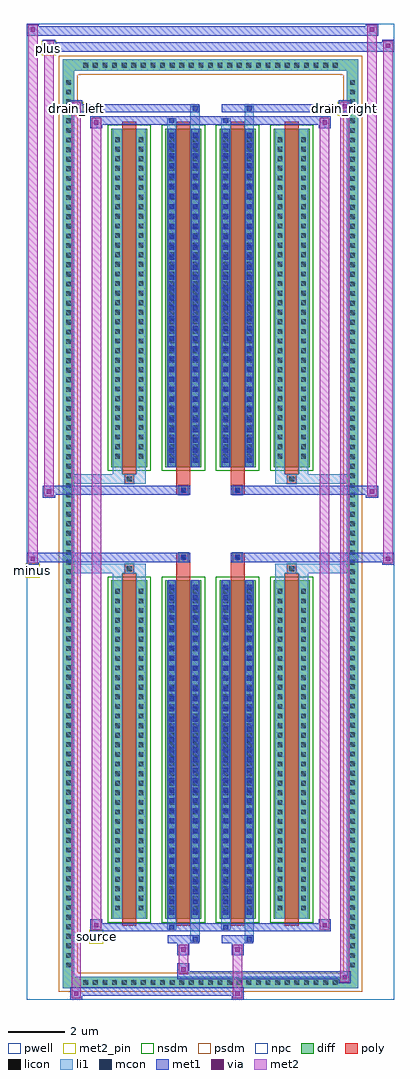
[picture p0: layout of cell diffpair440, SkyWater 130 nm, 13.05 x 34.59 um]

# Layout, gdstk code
import gdstk
lib = gdstk.Library(unit=1e-6, precision=5e-09)
def R(c, l, rs):  # rectangles x0, y0, x1, y1
    for r in rs: c.add(gdstk.rectangle(r[:2], r[2:], *l))
def A(c, l, x, y, w, h, nx, ny, dx, dy):  # array of equal rectangles
    R(c, l, [(x+i*dx, y+j*dy, x+i*dx+w, y+j*dy+h) for i in range(nx) for j in range(ny)])
def P(c, l, *ps):  # polygons
    for p in ps: c.add(gdstk.Polygon(p, *l))
pwell = (64, 44)
diff = (65, 20)
poly = (66, 20)
licon = (66, 44)
li1 = (67, 20)
mcon = (67, 44)
met1 = (68, 20)
via = (68, 44)
met2_pin = (69, 16)
met2 = (69, 20)
nsdm = (93, 44)
psdm = (94, 20)
npc = (95, 20)

diffpair440 = lib.new_cell('diffpair440')
R(diffpair440, pwell, [(-6.51,-16.86,6.51,17.73), (-3.83,-15.05,-0.01,-0.825), (0.01,-15.05,3.83,-0.825), (-3.83,0.825,-0.01,15.05), (0.01,0.825,3.83,15.05)])
A(diffpair440, diff, -4.625, -16.46, 0.41, 0.41, 27, 2, 0.34, 32.51)
A(diffpair440, diff, -5.24, -15.845, 0.41, 0.41, 1, 93, 0, 0.34)
A(diffpair440, diff, 4.83, -15.845, 0.41, 0.41, 1, 93, 0, 0.34)
A(diffpair440, diff, -3.52, -14.005, 1.28, 12, 4, 2, 1.92, 16.01)
R(diffpair440, diff, [(-4.625,-16.46,4.625,-16.05), (-5.24,-15.845,-4.83,15.845), (4.83,-15.845,5.24,15.845), (-4.625,16.05,4.625,16.46)])
P(diffpair440, diff, [(5.24,16.46),(-5.24,16.46),(-5.24,-16.05),(-4.83,-16.05),(-4.83,16.05),(4.83,16.05),(4.83,-16.05),(-4.83,-16.05),(-5.24,-16.05),(-5.24,-16.46),(5.24,-16.46)])
A(diffpair440, poly, -3.13, -14.255, 0.5, 12.5, 4, 2, 1.92, 16.01)
R(diffpair440, poly, [(-3.045,-1.755,-2.715,-1.425), (-3.045,-1.755,-2.715,-1.425), (-1.21,-1.755,-0.71,-1.355), (0.71,-1.755,1.21,-1.355), (2.715,-1.755,3.045,-1.425), (2.715,-1.755,3.045,-1.425), (-1.21,-1.355,-0.71,-1.025), (-1.125,-1.355,-0.795,-1.025), (0.71,-1.355,1.21,-1.025), (0.795,-1.355,1.125,-1.025), (-1.21,1.025,-0.71,1.355), (-1.125,1.025,-0.795,1.355), (0.71,1.025,1.21,1.355), (0.795,1.025,1.125,1.355), (-1.21,1.355,-0.71,1.755), (0.71,1.355,1.21,1.755), (-3.045,1.425,-2.715,1.755), (-3.045,1.425,-2.715,1.755), (2.715,1.425,3.045,1.755), (2.715,1.425,3.045,1.755)])
A(diffpair440, licon, -4.505, -16.34, 0.17, 0.17, 27, 2, 0.34, 32.51)
A(diffpair440, licon, -5.12, -15.725, 0.17, 0.17, 1, 93, 0, 0.34)
A(diffpair440, licon, 4.95, -15.725, 0.17, 0.17, 1, 93, 0, 0.34)
A(diffpair440, licon, -3.38, -13.7, 0.17, 0.17, 1, 34, 0, 0.34)
A(diffpair440, licon, -2.55, -13.7, 0.17, 0.17, 1, 34, 0, 0.34)
A(diffpair440, licon, -1.46, -13.7, 0.17, 0.17, 1, 34, 0, 0.34)
A(diffpair440, licon, -0.63, -13.7, 0.17, 0.17, 1, 34, 0, 0.34)
A(diffpair440, licon, 0.46, -13.7, 0.17, 0.17, 1, 34, 0, 0.34)
A(diffpair440, licon, 1.29, -13.7, 0.17, 0.17, 1, 34, 0, 0.34)
A(diffpair440, licon, 2.38, -13.7, 0.17, 0.17, 1, 34, 0, 0.34)
A(diffpair440, licon, 3.21, -13.7, 0.17, 0.17, 1, 34, 0, 0.34)
A(diffpair440, licon, -3.38, 2.31, 0.17, 0.17, 1, 34, 0, 0.34)
A(diffpair440, licon, -2.55, 2.31, 0.17, 0.17, 1, 34, 0, 0.34)
A(diffpair440, licon, -1.46, 2.31, 0.17, 0.17, 1, 34, 0, 0.34)
A(diffpair440, licon, -0.63, 2.31, 0.17, 0.17, 1, 34, 0, 0.34)
A(diffpair440, licon, 0.46, 2.31, 0.17, 0.17, 1, 34, 0, 0.34)
A(diffpair440, licon, 1.29, 2.31, 0.17, 0.17, 1, 34, 0, 0.34)
A(diffpair440, licon, 2.38, 2.31, 0.17, 0.17, 1, 34, 0, 0.34)
A(diffpair440, licon, 3.21, 2.31, 0.17, 0.17, 1, 34, 0, 0.34)
R(diffpair440, licon, [(-2.965,-1.675,-2.795,-1.505), (2.795,-1.675,2.965,-1.505), (-1.045,-1.275,-0.875,-1.105), (0.875,-1.275,1.045,-1.105), (-1.045,1.105,-0.875,1.275), (0.875,1.105,1.045,1.275), (-2.965,1.505,-2.795,1.675), (2.795,1.505,2.965,1.675)])
A(diffpair440, li1, -4.585, -16.42, 0.33, 0.33, 27, 2, 0.34, 32.51)
A(diffpair440, li1, -5.2, -15.805, 0.33, 0.33, 1, 93, 0, 0.34)
A(diffpair440, li1, 4.87, -15.805, 0.33, 0.33, 1, 93, 0, 0.34)
A(diffpair440, li1, -1.46, -13.85, 0.17, 0.17, 1, 33, 0, 0.36)
A(diffpair440, li1, -0.63, -13.85, 0.17, 0.17, 1, 33, 0, 0.36)
A(diffpair440, li1, 0.46, -13.85, 0.17, 0.17, 1, 33, 0, 0.36)
A(diffpair440, li1, 1.29, -13.85, 0.17, 0.17, 1, 33, 0, 0.36)
A(diffpair440, li1, -3.46, -13.78, 0.33, 0.33, 1, 34, 0, 0.34)
A(diffpair440, li1, -2.63, -13.78, 0.33, 0.33, 1, 34, 0, 0.34)
A(diffpair440, li1, -1.54, -13.78, 0.33, 0.33, 1, 34, 0, 0.34)
A(diffpair440, li1, -0.71, -13.78, 0.33, 0.33, 1, 34, 0, 0.34)
A(diffpair440, li1, 0.38, -13.78, 0.33, 0.33, 1, 34, 0, 0.34)
A(diffpair440, li1, 1.21, -13.78, 0.33, 0.33, 1, 34, 0, 0.34)
A(diffpair440, li1, 2.3, -13.78, 0.33, 0.33, 1, 34, 0, 0.34)
A(diffpair440, li1, 3.13, -13.78, 0.33, 0.33, 1, 34, 0, 0.34)
A(diffpair440, li1, -1.46, 2.16, 0.17, 0.17, 1, 33, 0, 0.36)
A(diffpair440, li1, -0.63, 2.16, 0.17, 0.17, 1, 33, 0, 0.36)
A(diffpair440, li1, 0.46, 2.16, 0.17, 0.17, 1, 33, 0, 0.36)
A(diffpair440, li1, 1.29, 2.16, 0.17, 0.17, 1, 33, 0, 0.36)
A(diffpair440, li1, -3.46, 2.23, 0.33, 0.33, 1, 34, 0, 0.34)
A(diffpair440, li1, -2.63, 2.23, 0.33, 0.33, 1, 34, 0, 0.34)
A(diffpair440, li1, -1.54, 2.23, 0.33, 0.33, 1, 34, 0, 0.34)
A(diffpair440, li1, -0.71, 2.23, 0.33, 0.33, 1, 34, 0, 0.34)
A(diffpair440, li1, 0.38, 2.23, 0.33, 0.33, 1, 34, 0, 0.34)
A(diffpair440, li1, 1.21, 2.23, 0.33, 0.33, 1, 34, 0, 0.34)
A(diffpair440, li1, 2.3, 2.23, 0.33, 0.33, 1, 34, 0, 0.34)
A(diffpair440, li1, 3.13, 2.23, 0.33, 0.33, 1, 34, 0, 0.34)
R(diffpair440, li1, [(-5.24,-16.46,-4.83,-16.05), (-5.24,-16.46,-4.83,-16.05), (-4.83,-16.46,4.83,-16.05), (4.83,-16.46,5.24,-16.05), (4.83,-16.46,5.24,-16.05), (-5.24,-16.05,-4.83,16.05), (4.83,-16.05,5.24,16.05), (-0.71,-14.81,-0.38,-14.005), (-0.63,-14.81,-0.46,-14.64), (1.21,-14.81,1.54,-14.005), (1.29,-14.81,1.46,-14.64), (-1.54,-14.38,-1.21,-14.005), (-1.46,-14.38,-1.29,-14.21), (0.38,-14.38,0.71,-14.005), (0.46,-14.38,0.63,-14.21), (-3.46,-14.005,-3.13,-2.005), (-2.63,-14.005,-2.3,-2.005), (-1.54,-14.005,-1.21,-2.005), (-0.71,-14.005,-0.38,-2.005), (0.38,-14.005,0.71,-2.005), (1.21,-14.005,1.54,-2.005), (2.3,-14.005,2.63,-2.005), (3.13,-14.005,3.46,-2.005), (-1.46,-13.85,-1.29,-2.16), (-0.63,-13.85,-0.46,-2.16), (0.46,-13.85,0.63,-2.16), (1.29,-13.85,1.46,-2.16), (-3.46,-2.005,-3.13,-1.425), (-2.63,-2.005,-2.3,-1.425), (2.3,-2.005,2.63,-1.425), (3.13,-2.005,3.46,-1.425), (-5.24,-1.755,-3.045,-1.425), (-3.46,-1.755,-3.045,-1.425), (-3.045,-1.755,-2.715,-1.425), (-2.715,-1.755,-2.3,-1.425), (2.3,-1.755,2.715,-1.425), (2.715,-1.755,3.045,-1.425), (2.715,-1.755,5.24,-1.425), (3.045,-1.755,3.46,-1.425), (-1.125,-1.355,-0.795,-1.025), (0.795,-1.355,1.125,-1.025), (-1.125,1.025,-0.795,1.355), (0.795,1.025,1.125,1.355), (-5.24,1.425,-3.045,1.755), (-3.46,1.425,-3.045,1.755), (-3.46,1.425,-3.13,2.005), (-3.045,1.425,-2.715,1.755), (-2.715,1.425,-2.3,1.755), (-2.63,1.425,-2.3,2.005), (2.3,1.425,2.715,1.755), (2.3,1.425,2.63,2.005), (2.715,1.425,3.045,1.755), (2.715,1.425,5.24,1.755), (3.045,1.425,3.46,1.755), (3.13,1.425,3.46,2.005), (-3.46,2.005,-3.13,14.005), (-2.63,2.005,-2.3,14.005), (-1.54,2.005,-1.21,14.005), (-0.71,2.005,-0.38,14.005), (0.38,2.005,0.71,14.005), (1.21,2.005,1.54,14.005), (2.3,2.005,2.63,14.005), (3.13,2.005,3.46,14.005), (-1.46,2.16,-1.29,13.85), (-0.63,2.16,-0.46,13.85), (0.46,2.16,0.63,13.85), (1.29,2.16,1.46,13.85), (-1.54,14.005,-1.21,14.38), (-0.71,14.005,-0.38,14.81), (0.38,14.005,0.71,14.38), (1.21,14.005,1.54,14.81), (-1.46,14.21,-1.29,14.38), (0.46,14.21,0.63,14.38), (-0.63,14.64,-0.46,14.81), (1.29,14.64,1.46,14.81), (-5.24,16.05,-4.83,16.46), (-5.24,16.05,-4.83,16.46), (-4.83,16.05,4.83,16.46), (4.83,16.05,5.24,16.46), (4.83,16.05,5.24,16.46)])
A(diffpair440, mcon, -1.46, -13.85, 0.17, 0.17, 1, 33, 0, 0.36)
A(diffpair440, mcon, -0.63, -13.85, 0.17, 0.17, 1, 33, 0, 0.36)
A(diffpair440, mcon, 0.46, -13.85, 0.17, 0.17, 1, 33, 0, 0.36)
A(diffpair440, mcon, 1.29, -13.85, 0.17, 0.17, 1, 33, 0, 0.36)
A(diffpair440, mcon, -1.46, 2.16, 0.17, 0.17, 1, 33, 0, 0.36)
A(diffpair440, mcon, -0.63, 2.16, 0.17, 0.17, 1, 33, 0, 0.36)
A(diffpair440, mcon, 0.46, 2.16, 0.17, 0.17, 1, 33, 0, 0.36)
A(diffpair440, mcon, 1.29, 2.16, 0.17, 0.17, 1, 33, 0, 0.36)
R(diffpair440, mcon, [(-0.63,-14.81,-0.46,-14.64), (1.29,-14.81,1.46,-14.64), (-1.46,-14.38,-1.29,-14.21), (0.46,-14.38,0.63,-14.21), (-1.045,-1.275,-0.875,-1.105), (0.875,-1.275,1.045,-1.105), (-1.045,1.105,-0.875,1.275), (0.875,1.105,1.045,1.275), (-1.46,14.21,-1.29,14.38), (0.46,14.21,0.63,14.38), (-0.63,14.64,-0.46,14.81), (1.29,14.64,1.46,14.81)])
A(diffpair440, met1, -1.52, -13.91, 0.29, 0.29, 1, 33, 0, 0.36)
A(diffpair440, met1, -0.69, -13.91, 0.29, 0.29, 1, 33, 0, 0.36)
A(diffpair440, met1, 0.4, -13.91, 0.29, 0.29, 1, 33, 0, 0.36)
A(diffpair440, met1, 1.23, -13.91, 0.29, 0.29, 1, 33, 0, 0.36)
A(diffpair440, met1, -1.52, 2.1, 0.29, 0.29, 1, 33, 0, 0.36)
A(diffpair440, met1, -0.69, 2.1, 0.29, 0.29, 1, 33, 0, 0.36)
A(diffpair440, met1, 0.4, 2.1, 0.29, 0.29, 1, 33, 0, 0.36)
A(diffpair440, met1, 1.23, 2.1, 0.29, 0.29, 1, 33, 0, 0.36)
R(diffpair440, met1, [(-4.97,-16.86,-4.54,-16.43), (0.745,-16.86,1.175,-16.43), (-4.97,-16.72,1.175,-16.43), (4.54,-16.29,4.97,-15.86), (-1.175,-16.15,4.97,-15.86), (-1.175,-16.01,-0.745,-15.58), (-1.175,-15.3,-0.745,-14.87), (0.745,-15.3,1.175,-14.87), (-1.52,-14.87,-0.4,-14.58), (-0.69,-14.87,-0.4,-14.58), (0.4,-14.87,1.52,-14.58), (1.23,-14.87,1.52,-14.58), (-4.26,-14.44,-3.83,-14.01), (-4.26,-14.44,-1.52,-14.15), (-1.52,-14.44,-1.23,-14.15), (-1.52,-14.44,-0.4,-14.15), (-0.4,-14.44,0.4,-14.15), (0.4,-14.44,0.69,-14.15), (0.4,-14.44,1.52,-14.15), (1.52,-14.44,4.26,-14.15), (3.83,-14.44,4.26,-14.01), (-1.52,-14.005,-1.23,-2.005), (-0.69,-14.005,-0.4,-2.005), (0.4,-14.005,0.69,-2.005), (1.23,-14.005,1.52,-2.005), (-6.51,-1.455,-6.08,-1.025), (6.08,-1.455,6.51,-1.025), (-6.51,-1.355,-0.71,-1.025), (-1.21,-1.355,-0.71,-1.025), (0.71,-1.355,1.21,-1.025), (0.71,-1.355,6.51,-1.025), (-1.105,-1.335,-0.815,-1.045), (0.815,-1.335,1.105,-1.045), (-5.94,0.925,-5.51,1.355), (5.51,0.925,5.94,1.355), (-5.94,1.025,-1.21,1.355), (-1.21,1.025,-0.71,1.355), (0.71,1.025,1.21,1.355), (1.21,1.025,5.94,1.355), (-1.105,1.045,-0.815,1.335), (0.815,1.045,1.105,1.335), (-1.52,2.005,-1.23,14.005), (-0.69,2.005,-0.4,14.005), (0.4,2.005,0.69,14.005), (1.23,2.005,1.52,14.005), (-4.26,14.01,-3.83,14.44), (3.83,14.01,4.26,14.44), (-4.26,14.15,-1.52,14.44), (-1.52,14.15,-1.23,14.44), (-1.52,14.15,-0.4,14.44), (-0.4,14.15,0.4,14.44), (0.4,14.15,0.69,14.44), (0.4,14.15,1.52,14.44), (1.52,14.15,4.26,14.44), (-4.97,14.58,-4.54,15.01), (-4.97,14.58,-1.52,14.87), (-1.52,14.58,-0.4,14.87), (-0.69,14.58,-0.4,14.87), (0.4,14.58,1.52,14.87), (1.23,14.58,1.52,14.87), (1.52,14.58,4.97,14.87), (4.54,14.58,4.97,15.01), (-5.94,16.73,-5.51,17.16), (-5.94,16.73,-3.83,17.06), (-3.83,16.73,3.83,17.06), (3.83,16.73,6.51,17.06), (6.08,16.73,6.51,17.16), (-6.51,17.3,-6.08,17.73), (-6.51,17.3,-3.83,17.63), (-3.83,17.3,3.83,17.63), (3.83,17.3,5.94,17.63), (5.51,17.3,5.94,17.73)])
R(diffpair440, via, [(-4.83,-16.72,-4.68,-16.57), (0.885,-16.72,1.035,-16.57), (4.68,-16.15,4.83,-16), (-1.035,-15.87,-0.885,-15.72), (-1.035,-15.16,-0.885,-15.01), (0.885,-15.16,1.035,-15.01), (-4.12,-14.3,-3.97,-14.15), (3.97,-14.3,4.12,-14.15), (-6.37,-1.315,-6.22,-1.165), (6.22,-1.315,6.37,-1.165), (-5.8,1.065,-5.65,1.215), (5.65,1.065,5.8,1.215), (-4.12,14.15,-3.97,14.3), (3.97,14.15,4.12,14.3), (-4.83,14.72,-4.68,14.87), (4.68,14.72,4.83,14.87), (-5.8,16.87,-5.65,17.02), (6.22,16.87,6.37,17.02), (-6.37,17.44,-6.22,17.59), (5.65,17.44,5.8,17.59)])
R(diffpair440, met2_pin, [(-4.295,-14.89,-3.795,-14.39), (-6.545,-1.905,-6.045,-1.405), (-5.005,14.46,-4.505,14.96), (4.505,14.46,5.005,14.96), (-5.975,16.61,-5.475,17.11)])
R(diffpair440, met2, [(-4.92,-16.81,-4.59,-16.48), (-4.92,-16.81,-4.59,14.96), (0.795,-16.81,1.125,-16.48), (0.795,-16.48,1.125,-15.25), (4.59,-16.24,4.92,-15.91), (4.59,-16.24,4.92,14.96), (-1.125,-15.96,-0.795,-15.63), (-1.125,-15.63,-0.795,-15.25), (-1.125,-15.25,-0.795,-14.92), (0.795,-15.25,1.125,-14.92), (-4.21,-14.39,-3.88,-14.06), (-4.21,-14.39,-3.88,14.39), (3.88,-14.39,4.21,-14.06), (3.88,-14.39,4.21,14.39), (-6.46,-1.405,-6.13,-1.075), (-6.46,-1.405,-6.13,17.68), (6.13,-1.405,6.46,-1.075), (6.13,-1.405,6.46,17.11), (-5.89,0.975,-5.56,1.305), (-5.89,0.975,-5.56,17.11), (5.56,0.975,5.89,1.305), (5.56,0.975,5.89,17.68), (-4.21,14.06,-3.88,14.39), (3.88,14.06,4.21,14.39), (-4.92,14.63,-4.59,14.96), (4.59,14.63,4.92,14.96), (-5.89,16.78,-5.56,17.11), (6.13,16.78,6.46,17.11), (-6.46,17.35,-6.13,17.68), (5.56,17.35,5.89,17.68)])
P(diffpair440, met2, [(6.46,-1.405),(6.46,-1.405),(6.46,-1.075),(6.46,-1.075)],
  [(6.46,16.78),(6.46,16.78),(6.46,17.11),(6.46,17.11)],
  [(-6.13,-1.405),(-6.13,-1.405),(-6.13,-1.075),(-6.13,-1.075)],
  [(-6.13,17.35),(-6.13,17.35),(-6.13,17.68),(-6.13,17.68)],
  [(5.89,0.975),(5.89,0.975),(5.89,1.305),(5.89,1.305)],
  [(5.89,17.35),(5.89,17.35),(5.89,17.68),(5.89,17.68)],
  [(-5.56,0.975),(-5.56,0.975),(-5.56,1.305),(-5.56,1.305)],
  [(-5.56,16.78),(-5.56,16.78),(-5.56,17.11),(-5.56,17.11)],
  [(-4.59,-16.81),(-4.59,-16.81),(-4.59,-16.48),(-4.59,-16.48)],
  [(-4.59,14.63),(-4.59,14.63),(-4.59,14.96),(-4.59,14.96)],
  [(4.92,-16.24),(4.92,-16.24),(4.92,-15.91),(4.92,-15.91)],
  [(4.92,14.63),(4.92,14.63),(4.92,14.96),(4.92,14.96)],
  [(-3.88,-14.39),(-3.88,-14.39),(-3.88,-14.06),(-3.88,-14.06)],
  [(-3.88,14.06),(-3.88,14.06),(-3.88,14.39),(-3.88,14.39)],
  [(4.21,-14.39),(4.21,-14.39),(4.21,-14.06),(4.21,-14.06)],
  [(4.21,14.06),(4.21,14.06),(4.21,14.39),(4.21,14.39)])
A(diffpair440, nsdm, -3.65, -14.135, 1.54, 12.26, 4, 2, 1.92, 16.01)
P(diffpair440, psdm, [(5.37,16.59),(-5.37,16.59),(-5.37,-15.92),(-4.7,-15.92),(-4.7,15.92),(4.7,15.92),(4.7,-15.92),(-4.7,-15.92),(-5.37,-15.92),(-5.37,-16.59),(5.37,-16.59)])
R(diffpair440, npc, [(-3.065,-1.775,-2.695,-1.405), (2.695,-1.775,3.065,-1.405), (-1.145,-1.375,-0.775,-1.005), (0.775,-1.375,1.145,-1.005), (-1.145,1.005,-0.775,1.375), (0.775,1.005,1.145,1.375), (-3.065,1.405,-2.695,1.775), (2.695,1.405,3.065,1.775)])
diffpair440.add(gdstk.Label('minus', (-6.295,-1.655), layer=69, texttype=5))
diffpair440.add(gdstk.Label('drain_right', (4.755,14.71), layer=69, texttype=5))
diffpair440.add(gdstk.Label('drain_left', (-4.755,14.71), layer=69, texttype=5))
diffpair440.add(gdstk.Label('source', (-4.045,-14.64), layer=69, texttype=5))
diffpair440.add(gdstk.Label('plus', (-5.725,16.86), layer=69, texttype=5))

lib.write_gds('diffpair440.gds')
